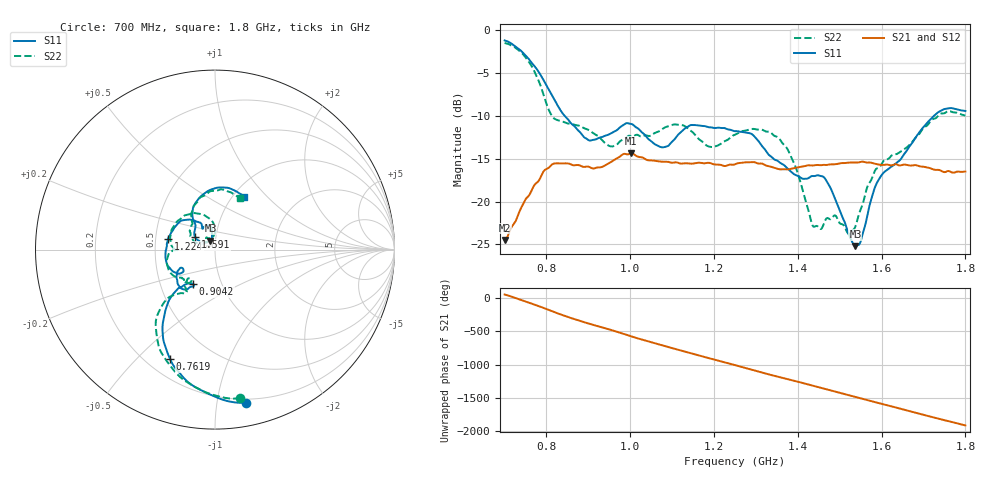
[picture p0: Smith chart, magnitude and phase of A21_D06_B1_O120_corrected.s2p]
! Created with skrf 1.9.0 (http://scikit-rf.org).
# Hz S RI R 50.0
!freq ReS11 ImS11 ReS21 ImS21 ReS12 ImS12 ReS22 ImS22
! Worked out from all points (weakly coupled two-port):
!   1601 points, 700 MHz to 1.8 GHz, reference 50 ohm
!   highest |S21| = -14.39 dB at 1.002 GHz (marker M1); lowest = -24.5 dB at 700.7 MHz (marker M2)
!   lowest |S11| = -25.2 dB at 1.537 GHz (marker M3), VSWR 1.12, Z = 47.3 + j4.64 ohm
!   |S11| at or under -10 dB: 843.6 MHz to 1.725 GHz (881.2 MHz wide, 68.6 % of centre)
!   |S22| runs from -23.7 to -1.5 dB; largest |S21 - S12| = 0.0035
!   S11 on the Smith chart (normalised r, x): 700 MHz: 0.17, -1.21; 761.9 MHz: 0.29, -0.63; 904.2 MHz: 0.73, -0.30; 1.224 GHz: 0.58, +0.08; 1.591 GHz: 0.79, +0.11; 1.8 GHz: 1.12, +0.75
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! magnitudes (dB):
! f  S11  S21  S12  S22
! 700 MHz  -1.2  -24.5  -24.2  -1.5
! 700.7 MHz  -1.2  -24.5  -24.2  -1.5
! 761.9 MHz  -3.6  -19.0  -18.9  -4.0
! 814.8 MHz  -7.7  -15.6  -15.7  -10.1
! 883.6 MHz  -12.1  -15.9  -15.8  -11.3
! 904.2 MHz  -12.9  -16.0  -16.0  -11.8
! 954.4 MHz  -12.0  -15.4  -15.4  -13.6
! 1.002 GHz  -10.9  -14.4  -14.5  -12.4
! 1.067 GHz  -13.5  -15.3  -15.3  -11.8
! 1.144 GHz  -11.1  -15.6  -15.6  -11.7
! 1.224 GHz  -11.4  -15.8  -15.8  -13.0
! 1.25 GHz  -11.8  -15.6  -15.6  -12.2
! 1.356 GHz  -15.4  -16.2  -16.1  -12.7
! 1.394 GHz  -16.9  -16.1  -16.1  -15.9
! 1.434 GHz  -17.0  -15.8  -15.8  -22.6
! 1.469 GHz  -17.6  -15.7  -15.7  -21.9
! 1.537 GHz  -25.2  -15.4  -15.4  -22.9
! 1.551 GHz  -24.5  -15.4  -15.4  -20.8
! 1.591 GHz  -17.6  -15.7  -15.6  -16.1
! 1.617 GHz  -16.2  -15.7  -15.7  -15.0
! 1.733 GHz  -9.7  -16.3  -16.3  -10.1
! 1.8 GHz  -9.4  -16.5  -16.5  -10.0
